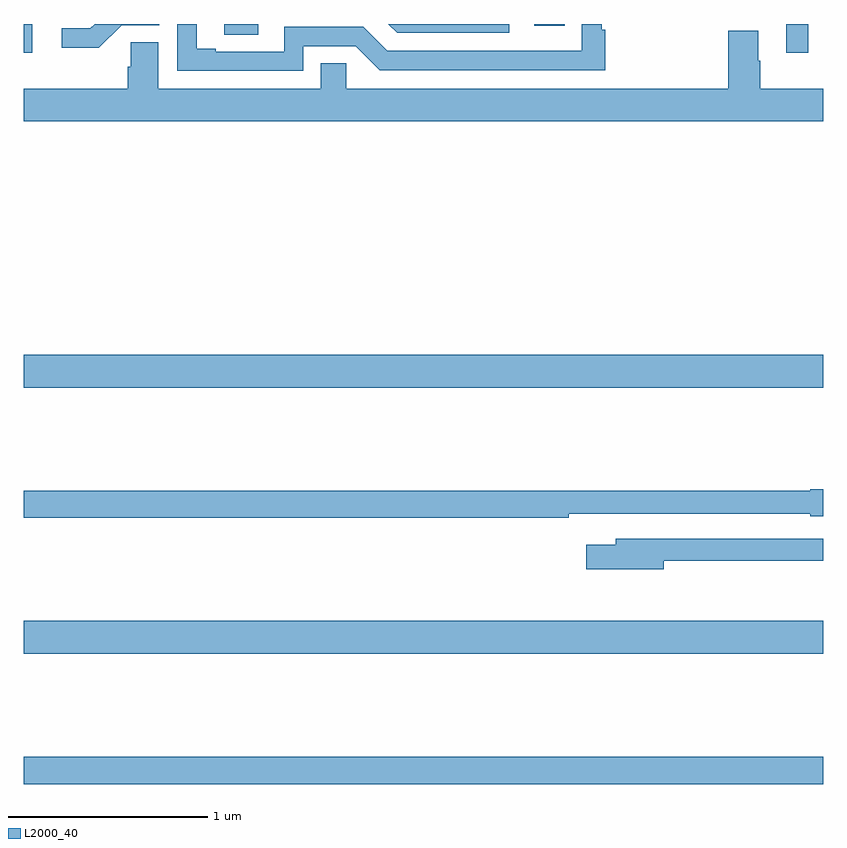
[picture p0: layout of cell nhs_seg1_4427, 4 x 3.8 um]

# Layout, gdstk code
import gdstk
lib = gdstk.Library(unit=1e-6, precision=1e-09)
def R(c, l, rs):  # rectangles x0, y0, x1, y1
    for r in rs: c.add(gdstk.rectangle(r[:2], r[2:], *l))
def P(c, l, *ps):  # polygons
    for p in ps: c.add(gdstk.Polygon(p, *l))
L2000_40 = (2000, 40)

nhs_seg1_4427 = lib.new_cell('nhs_seg1_4427')
R(nhs_seg1_4427, L2000_40, [(351,568.396,355,568.532), (351,569.048,355,569.212), (351,570.38,355,570.544), (351,572.055,351.043,572.199), (354.815,572.055,354.925,572.199), (352.002,572.146,352.172,572.199), (353.553,572.19,353.708,572.199)])
P(nhs_seg1_4427, L2000_40, [(351.489,572.193),(351.678,572.193),(351.678,572.199),(351.354,572.199),(351.333,572.178),(351.189,572.178),(351.189,572.081),(351.376,572.081)],
  [(353.43,572.199),(352.824,572.199),(352.869,572.154),(353.43,572.154)],
  [(352.398,572.088),(352.662,572.088),(352.782,571.968),(353.909,571.968),(353.909,572.171),(353.892,572.171),(353.892,572.199),(353.793,572.199),(353.793,572.064),(352.818,572.064),(352.698,572.184),(352.302,572.184),(352.302,572.061),(351.961,572.061),(351.961,572.076),(351.865,572.076),(351.865,572.199),(351.768,572.199),(351.768,571.965),(352.398,571.965)],
  [(355,571.876),(354.684,571.876),(354.684,572.015),(354.676,572.015),(354.676,572.165),(354.524,572.165),(354.524,571.876),(352.614,571.876),(352.614,572.003),(352.487,572.003),(352.487,571.876),(351.673,571.876),(351.673,572.108),(351.534,572.108),(351.534,571.985),(351.521,571.985),(351.521,571.876),(351,571.876),(351,571.712),(355,571.712)],
  [(353.726,569.748),(354.936,569.748),(354.936,569.735),(355,569.735),(355,569.87),(354.936,569.87),(354.936,569.864),(351,569.864),(351,569.728),(353.726,569.728)],
  [(354.202,569.514),(355,569.514),(355,569.622),(353.963,569.622),(353.963,569.593),(353.814,569.593),(353.814,569.471),(354.202,569.471)])

lib.write_gds('nhs_seg1_4427.gds')
